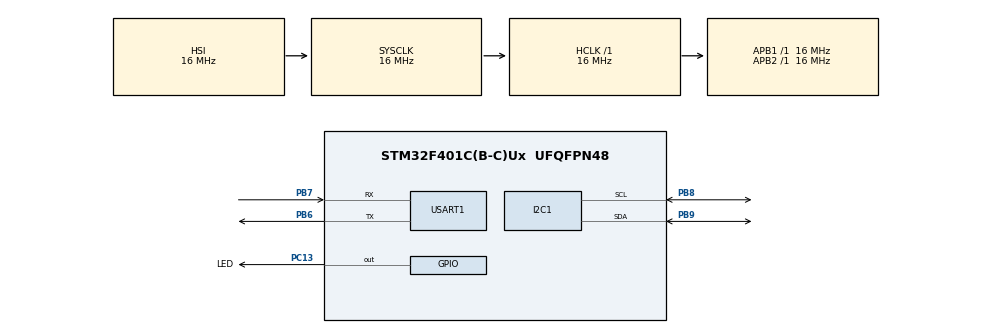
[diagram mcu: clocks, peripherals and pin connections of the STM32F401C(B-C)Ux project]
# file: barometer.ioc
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FREERTOS.Mutexes01=MutexForData,Dynamic,NULL
FREERTOS.Tasks01=TaskDataIn,24,500,StartTaskDataIn,Default,NULL,Dynamic,NULL,NULL;TaskDataOut,8,500,StartTaskDataOut,Default,NULL,Dynamic,NULL,NULL
FREERTOS.configUSE_NEWLIB_REENTRANT=1
Mcu.Family=STM32F4
Mcu.Name=STM32F401C(B-C)Ux
Mcu.Package=UFQFPN48
NVIC.PriorityGroup=NVIC_PRIORITYGROUP_4
PA13.Mode=Serial_Wire
PA13.Signal=SYS_JTMS-SWDIO
PA14.Mode=Serial_Wire
PA14.Signal=SYS_JTCK-SWCLK
PB6.Mode=Asynchronous
PB6.Signal=USART1_TX
PB7.Mode=Asynchronous
PB7.Signal=USART1_RX
PB8.GPIO_Pu=GPIO_PULLUP
PB8.Mode=I2C
PB8.Signal=I2C1_SCL
PB9.GPIO_Pu=GPIO_PULLUP
PB9.Mode=I2C
PB9.Signal=I2C1_SDA
PC13-ANTI_TAMP.GPIO_Label=LED
PC13-ANTI_TAMP.Signal=GPIO_Output
PH0\ -\ OSC_IN.Mode=HSE-External-Oscillator
PH0\ -\ OSC_IN.Signal=RCC_OSC_IN
PH1\ -\ OSC_OUT.Mode=HSE-External-Oscillator
PH1\ -\ OSC_OUT.Signal=RCC_OSC_OUT
ProjectManager.HeapSize=0x200
ProjectManager.StackSize=0x400
ProjectManager.TargetToolchain=STM32CubeIDE
RCC.AHBFreq_Value=16000000
RCC.APB1Freq_Value=16000000
RCC.APB2Freq_Value=16000000
RCC.CortexFreq_Value=16000000
RCC.HSE_VALUE=25000000
RCC.HSI_VALUE=16000000
RCC.LSE_VALUE=32768
RCC.SYSCLKFreq_VALUE=16000000
RCC.VCOOutputFreq_Value=192000000
USART1.VirtualMode=VM_ASYNC
VP_FREERTOS_VS_CMSIS_V2.Mode=CMSIS_V2
board=custom

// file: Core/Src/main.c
/* USER CODE BEGIN Header */
/**
  ******************************************************************************
  * @file           : main.c
  * @brief          : Main program body
  ******************************************************************************
  * @attention
  *
  * Copyright (c) 2022 STMicroelectronics.
  * All rights reserved.
  *
  * This software is licensed under terms that can be found in the LICENSE file
  * in the root directory of this software component.
  * If no LICENSE file comes with this software, it is provided AS-IS.
  *
  ******************************************************************************
  */
/* USER CODE END Header */
#include "main.h"
#include "cmsis_os.h"

/* USER CODE BEGIN Includes */

#include "baro.h"
#include <stdio.h>
#include <stdlib.h>
#include <string.h>

/* USER CODE END Includes */

/* USER CODE BEGIN PD */
#define countof(_a) (sizeof(_a)/sizeof(_a[0]))
/* USER CODE END PD */

I2C_HandleTypeDef hi2c1;

UART_HandleTypeDef huart1;

/* Definitions for TaskDataIn */
osThreadId_t TaskDataInHandle;
const osThreadAttr_t TaskDataIn_attributes = {
  .name = "TaskDataIn",
  .stack_size = 500 * 4,
  .priority = (osPriority_t) osPriorityNormal,
};
/* Definitions for TaskDataOut */
osThreadId_t TaskDataOutHandle;
const osThreadAttr_t TaskDataOut_attributes = {
  .name = "TaskDataOut",
  .stack_size = 500 * 4,
  .priority = (osPriority_t) osPriorityLow,
};
/* Definitions for MutexForData */
osMutexId_t MutexForDataHandle;
const osMutexAttr_t MutexForData_attributes = {
  .name = "MutexForData"
};
/* USER CODE BEGIN PV */

struct q_elem{
	uint32_t temp;
	uint32_t pres;
	struct q_elem* next;
};

struct q_elem* beg_q = NULL;
struct q_elem* end_q = NULL;
uint32_t q_count = 0;

/* USER CODE END PV */

void SystemClock_Config(void);
static void MX_GPIO_Init(void);
static void MX_I2C1_Init(void);
static void MX_USART1_UART_Init(void);
void StartTaskDataIn(void *argument);
void StartTaskDataOut(void *argument);

/* USER CODE BEGIN PFP */

void add_elem(uint32_t Temp, uint32_t Pres);
void* get_elem();

/* USER CODE END PFP */

/* USER CODE BEGIN 0 */
char text[100];

/* USER CODE END 0 */

int main(void)
{

  /* MCU Configuration--------------------------------------------------------*/

  /* Reset of all peripherals, Initializes the Flash interface and the Systick. */
  HAL_Init();

  /* Configure the system clock */
  SystemClock_Config();

  /* Initialize all configured peripherals */
  MX_GPIO_Init();
  MX_I2C1_Init();
  MX_USART1_UART_Init();
  /* USER CODE BEGIN 2 */

  if(baro_init() != BARO_OK){
	  snprintf(text, countof(text), "Error init baro\n");
	  HAL_UART_Transmit(&huart1, (uint8_t*)text, countof(text), 1000);
	  while(1){}
  }

  /* USER CODE END 2 */

  /* Init scheduler */
  osKernelInitialize();
  /* Create the mutex(es) */
  /* creation of MutexForData */
  MutexForDataHandle = osMutexNew(&MutexForData_attributes);

  /* Create the thread(s) */
  /* creation of TaskDataIn */
  TaskDataInHandle = osThreadNew(StartTaskDataIn, NULL, &TaskDataIn_attributes);

  /* creation of TaskDataOut */
  TaskDataOutHandle = osThreadNew(StartTaskDataOut, NULL, &TaskDataOut_attributes);

  /* Start scheduler */
  osKernelStart();

  /* We should never get here as control is now taken by the scheduler */
  /* Infinite loop */
  while (1)
  {

  }
}

void SystemClock_Config(void)
{
  RCC_OscInitTypeDef RCC_OscInitStruct = {0};
  RCC_ClkInitTypeDef RCC_ClkInitStruct = {0};

  /** Configure the main internal regulator output voltage
  */
  __HAL_RCC_PWR_CLK_ENABLE();
  __HAL_PWR_VOLTAGESCALING_CONFIG(PWR_REGULATOR_VOLTAGE_SCALE2);

  /** Initializes the RCC Oscillators according to the specified parameters
  * in the RCC_OscInitTypeDef structure.
  */
  RCC_OscInitStruct.OscillatorType = RCC_OSCILLATORTYPE_HSI;
  RCC_OscInitStruct.HSIState = RCC_HSI_ON;
  RCC_OscInitStruct.HSICalibrationValue = RCC_HSICALIBRATION_DEFAULT;
  RCC_OscInitStruct.PLL.PLLState = RCC_PLL_NONE;
  if (HAL_RCC_OscConfig(&RCC_OscInitStruct) != HAL_OK)
  {
    Error_Handler();
  }

  /** Initializes the CPU, AHB and APB buses clocks
  */
  RCC_ClkInitStruct.ClockType = RCC_CLOCKTYPE_HCLK|RCC_CLOCKTYPE_SYSCLK
                              |RCC_CLOCKTYPE_PCLK1|RCC_CLOCKTYPE_PCLK2;
  RCC_ClkInitStruct.SYSCLKSource = RCC_SYSCLKSOURCE_HSI;
  RCC_ClkInitStruct.AHBCLKDivider = RCC_SYSCLK_DIV1;
  RCC_ClkInitStruct.APB1CLKDivider = RCC_HCLK_DIV1;
  RCC_ClkInitStruct.APB2CLKDivider = RCC_HCLK_DIV1;

  if (HAL_RCC_ClockConfig(&RCC_ClkInitStruct, FLASH_LATENCY_0) != HAL_OK)
  {
    Error_Handler();
  }
}

static void MX_I2C1_Init(void)
{

  hi2c1.Instance = I2C1;
  hi2c1.Init.ClockSpeed = 100000;
  hi2c1.Init.DutyCycle = I2C_DUTYCYCLE_2;
  hi2c1.Init.OwnAddress1 = 0;
  hi2c1.Init.AddressingMode = I2C_ADDRESSINGMODE_7BIT;
  hi2c1.Init.DualAddressMode = I2C_DUALADDRESS_DISABLE;
  hi2c1.Init.OwnAddress2 = 0;
  hi2c1.Init.GeneralCallMode = I2C_GENERALCALL_DISABLE;
  hi2c1.Init.NoStretchMode = I2C_NOSTRETCH_DISABLE;
  if (HAL_I2C_Init(&hi2c1) != HAL_OK)
  {
    Error_Handler();
  }

}

static void MX_USART1_UART_Init(void)
{

  huart1.Instance = USART1;
  huart1.Init.BaudRate = 115200;
  huart1.Init.WordLength = UART_WORDLENGTH_8B;
  huart1.Init.StopBits = UART_STOPBITS_1;
  huart1.Init.Parity = UART_PARITY_NONE;
  huart1.Init.Mode = UART_MODE_TX_RX;
  huart1.Init.HwFlowCtl = UART_HWCONTROL_NONE;
  huart1.Init.OverSampling = UART_OVERSAMPLING_16;
  if (HAL_UART_Init(&huart1) != HAL_OK)
  {
    Error_Handler();
  }

}

static void MX_GPIO_Init(void)
{
  GPIO_InitTypeDef GPIO_InitStruct = {0};

  /* GPIO Ports Clock Enable */
  __HAL_RCC_GPIOC_CLK_ENABLE();
  __HAL_RCC_GPIOH_CLK_ENABLE();
  __HAL_RCC_GPIOA_CLK_ENABLE();
  __HAL_RCC_GPIOB_CLK_ENABLE();

  /*Configure GPIO pin Output Level */
  HAL_GPIO_WritePin(LED_GPIO_Port, LED_Pin, GPIO_PIN_RESET);

  /*Configure GPIO pin : LED_Pin */
  GPIO_InitStruct.Pin = LED_Pin;
  GPIO_InitStruct.Mode = GPIO_MODE_OUTPUT_PP;
  GPIO_InitStruct.Pull = GPIO_NOPULL;
  GPIO_InitStruct.Speed = GPIO_SPEED_FREQ_LOW;
  HAL_GPIO_Init(LED_GPIO_Port, &GPIO_InitStruct);

}

/* USER CODE BEGIN 4 */

void add_elem(uint32_t Temp, uint32_t Pres){
	struct q_elem* k = (struct q_elem*)malloc(sizeof(struct q_elem));
	k->next = NULL;
	k->temp = Temp;
	k->pres = Pres;

	if(beg_q == NULL){
		beg_q = k;
	}else{
		end_q->next = k;
	}
	q_count++;
}

void* get_elem(){
	void* k = NULL;
	if(beg_q == NULL){
		k = NULL;
	}else{
		k = beg_q;
		beg_q = beg_q->next;
	}
	  q_count--;
	return k;
}

/* USER CODE END 4 */

void StartTaskDataIn(void *argument)
{
  /* USER CODE BEGIN 5 */
  /* Infinite loop */
  for(;;)
  {
	  HAL_GPIO_WritePin(LED_GPIO_Port, LED_Pin, GPIO_PIN_RESET);

	  // read data from barometer and add new element to queue

	  int32_t temp = baro_read_temp();
	  int32_t pres = baro_read_press();

	  osMutexAcquire(MutexForDataHandle, osWaitForever);
	  add_elem(temp, pres);
	  osMutexRelease(MutexForDataHandle);

	  snprintf(text, countof(text), "%ld element was created*/\n", q_count);
	  HAL_UART_Transmit(&huart1, (uint8_t*)text, strlen(text), 1000);

	  osDelay(pdMS_TO_TICKS(100));

	  // print result
	  // char *text = "Text...";
	  // HAL_UART_Transmit(&huart1, (uint8_t*)text, strlen(text), 1000);

	  // work with mutex
	  // osMutexAcquire(mutex_name, osWaitForever);
	  // osMutexRelease(mutex_name);
  }
  /* USER CODE END 5 */
}

void StartTaskDataOut(void *argument)
{
  /* USER CODE BEGIN StartTaskDataOut */
  /* Infinite loop */

  struct q_elem* buf_elem = NULL;
  for(;;)
  {
	  HAL_GPIO_WritePin(LED_GPIO_Port, LED_Pin, GPIO_PIN_SET);

	  // print result and delete element beg_q

	  osMutexAcquire(MutexForDataHandle, osWaitForever);
	  buf_elem = (struct q_elem*)get_elem();
	  osMutexRelease(MutexForDataHandle);

	  snprintf(text, countof(text), "/*%ld.%02ld, %ld.%02ld, %ld elements are left*/\n",
	  buf_elem->temp/100, buf_elem->temp%100, buf_elem->pres/100, buf_elem->pres%100, q_count);
	  HAL_UART_Transmit(&huart1, (uint8_t*)text, strlen(text), 1000);

	  free(buf_elem);

	  osDelay(pdMS_TO_TICKS(100));

	  // print result
	  //snprintf(text, countof(text), "/*%ld.%02ld, %ld.%02ld*/\n", temp/100, temp%100, pres/100, pres%100);
	  //HAL_UART_Transmit(&huart1, (uint8_t*)text, strlen(text), 1000);
  }
  /* USER CODE END StartTaskDataOut */
}

void Error_Handler(void)
{
  __disable_irq();
  while (1)
  {
  }
}
